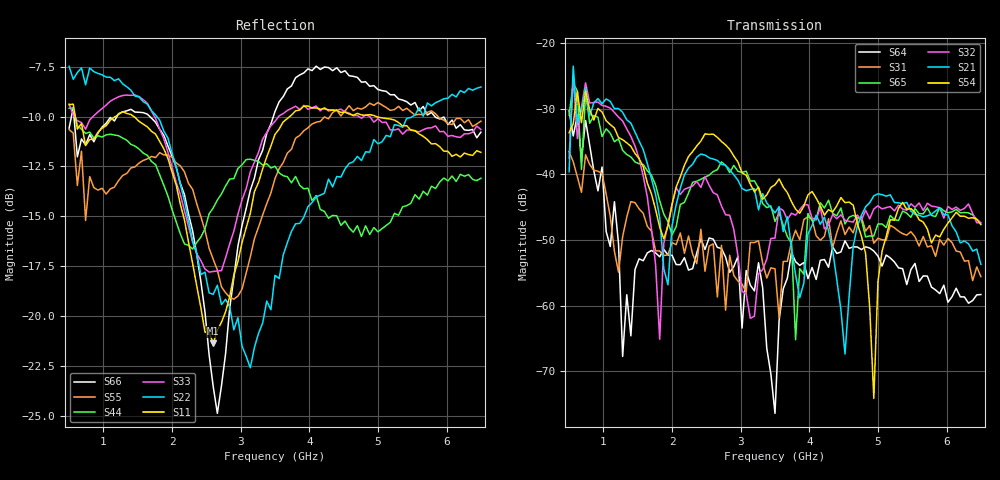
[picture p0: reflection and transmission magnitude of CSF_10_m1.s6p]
!Keysight Technologies,M9804A,MY58100912,A.14.10.03
!Date: Thursday, April 27, 2023 10:28:33
!Correction: S11(C  6-Port  )
!S12(C  6-Port  )
!S13(C  6-Port  )
!S14(C  6-Port  )
!S15(C  6-Port  )
!S16(C  6-Port  )
!S21(C  6-Port  )
!S22(C  6-Port  )
!S23(C  6-Port  )
!S24(C  6-Port  )
!S25(C  6-Port  )
!S26(C  6-Port  )
!S31(C  6-Port  )
!S32(C  6-Port  )
!S33(C  6-Port  )
!S34(C  6-Port  )
!S35(C  6-Port  )
!S36(C  6-Port  )
!S41(C  6-Port  )
!S42(C  6-Port  )
!S43(C  6-Port  )
!S44(C  6-Port  )
!S45(C  6-Port  )
!S46(C  6-Port  )
!S51(C  6-Port  )
!S52(C  6-Port  )
!S53(C  6-Port  )
!S54(C  6-Port  )
!S55(C  6-Port  )
!S56(C  6-Port  )
!S61(C  6-Port  )
!S62(C  6-Port  )
!S63(C  6-Port  )
!S64(C  6-Port  )
!S65(C  6-Port  )
!S66(C  6-Port  )
!S6P File: Measurement: :
# Hz S  RI  R 50
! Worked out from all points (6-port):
!   101 points, 500 MHz to 6.5 GHz, reference 50 ohm
!   strongest paths, dB at 500 MHz, 2 GHz, 3.5 GHz, 5 GHz, 6.5 GHz:
!     S54: -33.6, -44.5, -41.6, -56.4, -47.6
!     S21: -39.6, -47.8, -45.9, -43.0, -53.7
!     S32: -37.5, -44.6, -49.7, -44.8, -47.3
!     S65: -30.9, -49.2, -47.2, -47.6, -47.4
!     S31: -36.5, -50.4, -54.4, -49.7, -55.6
!     S64: -30.3, -52.3, -76.5, -52.4, -58.3
!   lowest |S11| = -21.4 dB at 2.6 GHz (marker M1), VSWR 1.19, Z = 42.4 + j2.14 ohm
!   |S11| at or under -10 dB: 589.8 MHz to 1.174 GHz (584 MHz wide, 66.2 % of centre); 1.442 GHz to 3.715 GHz (2.273 GHz wide, 88.2 % of centre); 4.977 GHz to end of sweep
